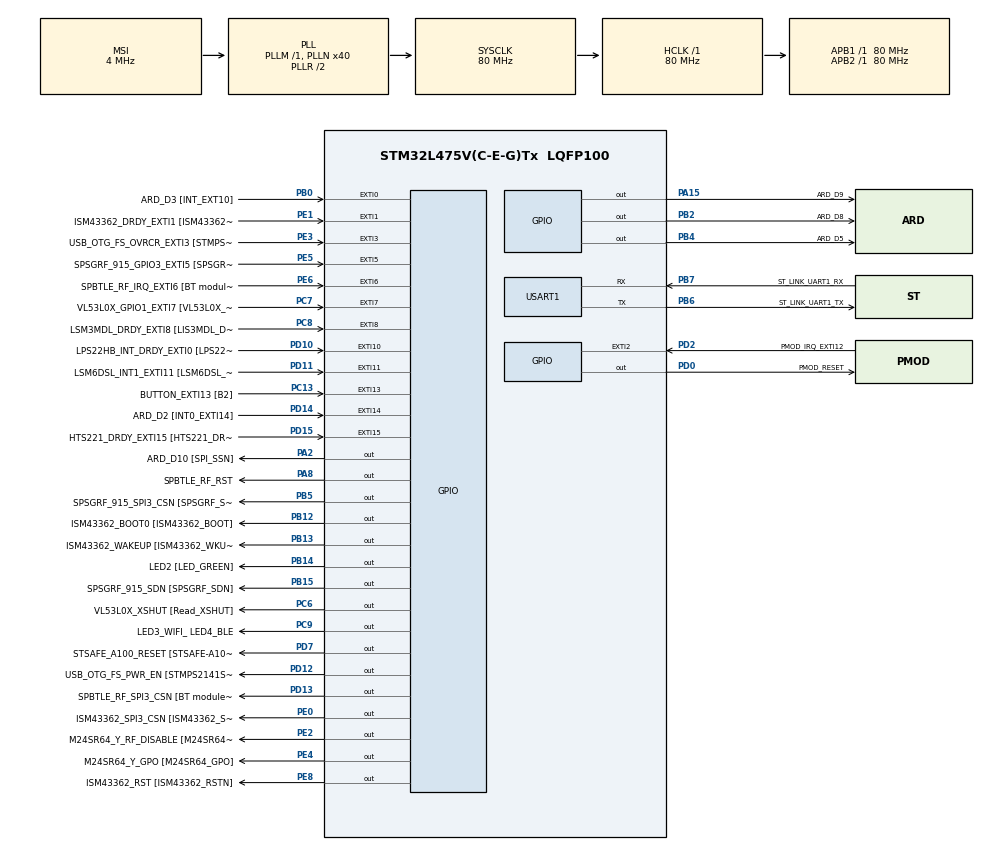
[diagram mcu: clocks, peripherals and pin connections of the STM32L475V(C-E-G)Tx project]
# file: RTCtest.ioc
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Mcu.Family=STM32L4
Mcu.Name=STM32L475V(C-E-G)Tx
Mcu.Package=LQFP100
NVIC.EXTI15_10_IRQn=true\:0\:0\:false\:false\:true\:true\:true
NVIC.EXTI9_5_IRQn=true\:0\:0\:false\:false\:true\:true\:true
NVIC.PriorityGroup=NVIC_PRIORITYGROUP_4
NVIC.RTC_WKUP_IRQn=true\:0\:0\:false\:false\:true\:true\:true
PA0.GPIO_Label=ARD_D1 [UART4_TX]
PA0.Signal=UART4_TX
PA1.GPIO_Label=ARD_D0 [UART4_RX]
PA1.Signal=UART4_RX
PA10.GPIO_Label=USB_OTG_FS_ID
PA10.Signal=USB_OTG_FS_ID
PA11.GPIO_Label=USB_OTG_FS_DM
PA11.Signal=USB_OTG_FS_DM
PA12.GPIO_Label=USB_OTG_FS_DP
PA12.Signal=USB_OTG_FS_DP
PA13\ (JTMS-SWDIO).GPIO_Label=SYS_JTMS_SWDIO
PA13\ (JTMS-SWDIO).Signal=SYS_JTMS-SWDIO
PA14\ (JTCK-SWCLK).GPIO_Label=SYS_JTCK_SWCLK
PA14\ (JTCK-SWCLK).Signal=SYS_JTCK-SWCLK
PA15\ (JTDI).GPIO_Label=ARD_D9
PA15\ (JTDI).Signal=GPIO_Output
PA2.GPIO_Label=ARD_D10 [SPI_SSN]
PA2.Signal=GPIO_Output
PA3.GPIO_Label=ARD_D4
PA3.Signal=S_TIM2_CH4
PA4.GPIO_Label=ARD_D7
PA4.Signal=ADCx_IN9
PA5.GPIO_Label=ARD_D13 [SPI1_SCK]
PA5.Signal=SPI1_SCK
PA6.GPIO_Label=ARD_D12 [SPI1_MISO]
PA6.Signal=SPI1_MISO
PA7.GPIO_Label=ARD_D11 [SPI1_MOSI]
PA7.Signal=SPI1_MOSI
PA8.GPIO_Label=SPBTLE_RF_RST
PA8.Signal=GPIO_Output
PA9.GPIO_Label=USB_OTG_FS_VBUS [STMPS2141STR_OUT]
PA9.Signal=USB_OTG_FS_VBUS
PB0.GPIO_Label=ARD_D3 [INT_EXT10]
PB0.Signal=GPXTI0
PB1.GPIO_Label=ARD_D6 [ADC1_IN6]
PB1.Signal=ADCx_IN16
PB10.GPIO_Label=INTERNAL_I2C2_SCL [VL53L0X_SCL]
PB10.Signal=I2C2_SCL
PB11.GPIO_Label=INTERNAL_I2C2_SDA [VL53L0X_SDA]
PB11.Signal=I2C2_SDA
PB12.GPIO_Label=ISM43362_BOOT0 [ISM43362_BOOT]
PB12.Signal=GPIO_Output
PB13.GPIO_Label=ISM43362_WAKEUP [ISM43362_WKUP]
PB13.Signal=GPIO_Output
PB14.GPIO_Label=LED2 [LED_GREEN]
PB14.Signal=GPIO_Output
PB15.GPIO_Label=SPSGRF_915_SDN [SPSGRF_SDN]
PB15.Signal=GPIO_Output
PB2.GPIO_Label=ARD_D8
PB2.Signal=GPIO_Output
PB3\ (JTDO-TRACESWO).GPIO_Label=SYS_JTD0_SWO
PB3\ (JTDO-TRACESWO).Signal=SYS_JTDO-SWO
PB4\ (NJTRST).GPIO_Label=ARD_D5
PB4\ (NJTRST).Signal=GPIO_Output
PB5.GPIO_Label=SPSGRF_915_SPI3_CSN [SPSGRF_SPI_CS]
PB5.PinState=GPIO_PIN_SET
PB5.Signal=GPIO_Output
PB6.GPIO_Label=ST_LINK_UART1_TX
PB6.Mode=Asynchronous
PB6.Signal=USART1_TX
PB7.GPIO_Label=ST_LINK_UART1_RX
PB7.Mode=Asynchronous
PB7.Signal=USART1_RX
PB8.GPIO_Label=ARD_D15 [I2C1_SCL]
PB8.Signal=I2C1_SCL
PB9.GPIO_Label=ARD_D14 [I2C1_SDA]
PB9.Signal=I2C1_SDA
PC0.GPIO_Label=ARD_A5 [ADC]
PC0.Signal=ADCx_IN1
PC1.GPIO_Label=ARD_A4 [ADC]
PC1.Signal=ADCx_IN2
PC10.GPIO_Label=INTERNAL_SPI3_SCK [BT module_SPI_SCLK] [ISM43362_SCK]
PC10.Signal=SPI3_SCK
PC11.GPIO_Label=INTERNAL_SPI3_MISO [BT module_SPI_MISO] [ISM43362_MISO]
PC11.Signal=SPI3_MISO
PC12.GPIO_Label=INTERNAL_SPI3_MOSI [BT module_SPI_MOSI] [ISM43362_MOSI]
PC12.Signal=SPI3_MOSI
PC13.GPIO_Label=BUTTON_EXTI13 [B2]
PC13.GPIO_ModeDefaultEXTI=GPIO_MODE_IT_FALLING
PC13.Signal=GPXTI13
PC14-OSC32_IN\ (PC14).Mode=LSE-External-Oscillator
PC14-OSC32_IN\ (PC14).Signal=RCC_OSC32_IN
PC15-OSC32_OUT\ (PC15).Mode=LSE-External-Oscillator
PC15-OSC32_OUT\ (PC15).Signal=RCC_OSC32_OUT
PC2.GPIO_Label=ARD_A3 [ADC]
PC2.Signal=ADCx_IN3
PC3.GPIO_Label=ARD_A2 [ADC]
PC3.Signal=ADCx_IN4
PC4.GPIO_Label=ARD_A1 [ADC]
PC4.Signal=ADCx_IN13
PC5.GPIO_Label=ARD_A0 [ADC]
PC5.Signal=ADCx_IN14
PC6.GPIO_Label=VL53L0X_XSHUT [Read_XSHUT]
PC6.Signal=GPIO_Output
PC7.GPIO_Label=VL53L0X_GPIO1_EXTI7 [VL53L0X_GPIO1]
PC7.Signal=GPXTI7
PC8.GPIO_Label=LSM3MDL_DRDY_EXTI8 [LIS3MDL_DRDY]
PC8.Signal=GPXTI8
PC9.GPIO_Label=LED3_WIFI_ LED4_BLE
PC9.Signal=GPIO_Output
PD0.GPIO_Label=PMOD_RESET
PD0.Signal=GPIO_Output
PD1.GPIO_Label=PMOD_SPI2_SCK
PD1.Signal=SPI2_SCK
PD10.GPIO_Label=LPS22HB_INT_DRDY_EXTI0 [LPS22HB_INT_DRDY] 
PD10.Signal=GPXTI10
PD11.GPIO_Label=LSM6DSL_INT1_EXTI11 [LSM6DSL_INT1]
PD11.Signal=GPXTI11
PD12.GPIO_Label=USB_OTG_FS_PWR_EN [STMPS2141STR_EN]
PD12.Signal=GPIO_Output
PD13.GPIO_Label=SPBTLE_RF_SPI3_CSN [BT module_SPI_CS]
PD13.PinState=GPIO_PIN_SET
PD13.Signal=GPIO_Output
PD14.GPIO_Label=ARD_D2 [INT0_EXTI14]
PD14.Signal=GPXTI14
PD15.GPIO_Label=HTS221_DRDY_EXTI15 [HTS221_DRDY]
PD15.Signal=GPXTI15
PD2.GPIO_Label=PMOD_IRQ_EXTI12
PD2.Signal=GPXTI2
PD3.GPIO_Label=PMOD_UART2_CTS
PD3.Signal=USART2_CTS
PD4.GPIO_Label=PMOD_UART2_RTS
PD4.Signal=USART2_RTS
PD5.GPIO_Label=PMOD_UART2_TX
PD5.Signal=USART2_TX
PD6.GPIO_Label=PMOD_UART2_RX
PD6.Signal=USART2_RX
PD7.GPIO_Label=STSAFE_A100_RESET [STSAFE-A100_RESET]
PD7.Signal=GPIO_Output
PD8.GPIO_Label=INTERNAL_UART3_TX [ISM43362_RX]
PD8.Signal=USART3_TX
PD9.GPIO_Label=INTERNAL_UART3_RX [ISM43362_TX]
PD9.Signal=USART3_RX
PE0.GPIO_Label=ISM43362_SPI3_CSN [ISM43362_SSN]
PE0.PinState=GPIO_PIN_SET
PE0.Signal=GPIO_Output
PE1.GPIO_Label=ISM43362_DRDY_EXTI1 [ISM43362_DATARDY]
PE1.Signal=GPXTI1
PE10.GPIO_Label=QUADSPI_CLK [MX25R6435F_SCLK]
PE10.Signal=QUADSPI_CLK
PE11.GPIO_Label=QUADSPI_NCS [MX25R6435F_SCLK]
PE11.Signal=QUADSPI_NCS
PE12.GPIO_Label=OQUADSPI_BK1_IO0 [MX25R6435F_IO0]
PE12.Signal=QUADSPI_BK1_IO0
PE13.GPIO_Label=QUADSPI_BK1_IO1 [MX25R6435F_IO1]
PE13.Signal=QUADSPI_BK1_IO1
PE14.GPIO_Label=QUAD_SPI_BK1_IO2 [MX25R6435F_IO2]
PE14.Signal=QUADSPI_BK1_IO2
PE15.GPIO_Label=QUAD_SPI_BK1_IO3 [MX25R6435F_IO3]
PE15.Signal=QUADSPI_BK1_IO3
PE2.GPIO_Label=M24SR64_Y_RF_DISABLE [M24SR64_RFDIS]
PE2.Signal=GPIO_Output
PE3.GPIO_Label=USB_OTG_FS_OVRCR_EXTI3 [STMPS2141STR_FAULT]
PE3.Signal=GPXTI3
PE4.GPIO_Label=M24SR64_Y_GPO [M24SR64_GPO]
PE4.Signal=GPIO_Output
PE5.GPIO_Label=SPSGRF_915_GPIO3_EXTI5 [SPSGRF_GPIO_3]
PE5.Signal=GPXTI5
PE6.GPIO_Label=SPBTLE_RF_IRQ_EXTI6 [BT module_SPI_IRQ]
PE6.Signal=GPXTI6
PE7.GPIO_Label=DFSDM1_DATIN2 [MP34DT01_DOUT]
PE7.Signal=S_DATAIN2DFSDM1
PE8.GPIO_Label=ISM43362_RST [ISM43362_RSTN]
PE8.Signal=GPIO_Output
PE9.GPIO_Label=DFSDM1_CKOUT [MP34DT01_CLK]
PE9.Signal=S_CKOUTDFSDM1
ProjectManager.HeapSize=0x200
ProjectManager.StackSize=0x400
ProjectManager.TargetToolchain=STM32CubeIDE
RCC.ADCFreq_Value=48000000
RCC.AHBFreq_Value=80000000
RCC.APB1Freq_Value=80000000
RCC.APB1TimFreq_Value=80000000
RCC.APB2Freq_Value=80000000
RCC.APB2TimFreq_Value=80000000
RCC.CortexFreq_Value=80000000
RCC.HCLKFreq_Value=80000000
RCC.HSE_VALUE=8000000
RCC.HSI_VALUE=16000000
RCC.MSI_VALUE=4000000
RCC.PLLN=40
RCC.PLLSAI1N=24
RCC.RTCClockSelection=RCC_RTCCLKSOURCE_LSE
RCC.SYSCLKFreq_VALUE=80000000
RCC.SYSCLKSource=RCC_SYSCLKSOURCE_PLLCLK
RCC.USBFreq_Value=48000000
RCC.VCOOutputFreq_Value=160000000
RTC.WakeUpClock-WakeUp=RTC_WAKEUPCLOCK_CK_SPRE_16BITS
SH.ADCx_IN1.0=ADC1_IN1
SH.ADCx_IN13.0=ADC1_IN13
SH.ADCx_IN14.0=ADC1_IN14
SH.ADCx_IN16.0=ADC1_IN16
SH.ADCx_IN2.0=ADC1_IN2
SH.ADCx_IN3.0=ADC1_IN3
SH.ADCx_IN4.0=ADC1_IN4
SH.ADCx_IN9.0=ADC1_IN9
SH.S_CKOUTDFSDM1.0=DFSDM1_CKOUT
SH.S_DATAIN2DFSDM1.0=DFSDM1_DATIN2
SH.S_TIM2_CH4.0=TIM2_CH4
USART1.VirtualMode-Asynchronous=VM_ASYNC
VP_RTC_VS_RTC_Activate.Mode=RTC_Enabled
VP_RTC_VS_RTC_WakeUp_intern.Mode=WakeUp
board=B-L475E-IOT01A1

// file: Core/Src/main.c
/* USER CODE BEGIN Header */
/**
  ******************************************************************************
  * @file           : main.c
  * @brief          : Main program body
  ******************************************************************************
  * @attention
  *
  * <h2><center>&copy; Copyright (c) 2021 STMicroelectronics.
  * All rights reserved.</center></h2>
  *
  * This software component is licensed by ST under BSD 3-Clause license,
  * the "License"; You may not use this file except in compliance with the
  * License. You may obtain a copy of the License at:
  *                        opensource.org/licenses/BSD-3-Clause
  *
  ******************************************************************************
  */
/* USER CODE END Header */
#include "main.h"

RTC_HandleTypeDef hrtc;

UART_HandleTypeDef huart1;

void SystemClock_Config(void);
static void MX_GPIO_Init(void);
static void MX_RTC_Init(void);
static void MX_USART1_UART_Init(void);
/* USER CODE BEGIN PFP */
void HAL_RTC_AlarmAEventCallback(RTC_HandleTypeDef *hrtc);
void HAL_RTCEx_AlarmBEventCallback(RTC_HandleTypeDef *hrtc);
void HAL_RTCEx_WakeUpTimerEventCallback(RTC_HandleTypeDef *hrtc);
void _write(int file, char *ptr, int len)
{
	HAL_UART_Transmit(&huart1, ptr, len, 500);
}

/* USER CODE END PFP */

int main(void)
{

  /* MCU Configuration--------------------------------------------------------*/

  /* Reset of all peripherals, Initializes the Flash interface and the Systick. */
  HAL_Init();

  /* Configure the system clock */
  SystemClock_Config();

  /* Initialize all configured peripherals */
  MX_GPIO_Init();
  MX_RTC_Init();
  MX_USART1_UART_Init();
  /* USER CODE BEGIN 2 */
  for(uint8_t i = 0; i<10; i++){
	  HAL_GPIO_TogglePin(GPIOB, GPIO_PIN_14);
	  HAL_Delay(500);
  }

  printf("while start\n");
  /* USER CODE END 2 */

  /* Infinite loop */
  while (1)
  {

    /* USER CODE BEGIN 3 */
	  for(uint8_t i = 0; i<50; i++){
		  HAL_GPIO_TogglePin(GPIOB, GPIO_PIN_14);
		  HAL_Delay(100);
	  }

	  printf("enter stop\n");
	  __HAL_RCC_PWR_CLK_ENABLE();
	  HAL_RTCEx_SetWakeUpTimer_IT(&hrtc, 20000, RTC_WAKEUPCLOCK_RTCCLK_DIV16);
	  HAL_SuspendTick();
	  //HAL_PWR_EnterSTOPMode(0, PWR_SLEEPENTRY_WFI);
	  HAL_PWR_EnterSTANDBYMode();

  }
  /* USER CODE END 3 */
}

void SystemClock_Config(void)
{
  RCC_OscInitTypeDef RCC_OscInitStruct = {0};
  RCC_ClkInitTypeDef RCC_ClkInitStruct = {0};

  /** Configure the main internal regulator output voltage
  */
  if (HAL_PWREx_ControlVoltageScaling(PWR_REGULATOR_VOLTAGE_SCALE1) != HAL_OK)
  {
    Error_Handler();
  }
  /** Configure LSE Drive Capability
  */
  HAL_PWR_EnableBkUpAccess();
  __HAL_RCC_LSEDRIVE_CONFIG(RCC_LSEDRIVE_LOW);
  /** Initializes the RCC Oscillators according to the specified parameters
  * in the RCC_OscInitTypeDef structure.
  */
  RCC_OscInitStruct.OscillatorType = RCC_OSCILLATORTYPE_LSE|RCC_OSCILLATORTYPE_MSI;
  RCC_OscInitStruct.LSEState = RCC_LSE_ON;
  RCC_OscInitStruct.MSIState = RCC_MSI_ON;
  RCC_OscInitStruct.MSICalibrationValue = 0;
  RCC_OscInitStruct.MSIClockRange = RCC_MSIRANGE_6;
  RCC_OscInitStruct.PLL.PLLState = RCC_PLL_ON;
  RCC_OscInitStruct.PLL.PLLSource = RCC_PLLSOURCE_MSI;
  RCC_OscInitStruct.PLL.PLLM = 1;
  RCC_OscInitStruct.PLL.PLLN = 40;
  RCC_OscInitStruct.PLL.PLLP = RCC_PLLP_DIV7;
  RCC_OscInitStruct.PLL.PLLQ = RCC_PLLQ_DIV2;
  RCC_OscInitStruct.PLL.PLLR = RCC_PLLR_DIV2;
  if (HAL_RCC_OscConfig(&RCC_OscInitStruct) != HAL_OK)
  {
    Error_Handler();
  }
  /** Initializes the CPU, AHB and APB buses clocks
  */
  RCC_ClkInitStruct.ClockType = RCC_CLOCKTYPE_HCLK|RCC_CLOCKTYPE_SYSCLK
                              |RCC_CLOCKTYPE_PCLK1|RCC_CLOCKTYPE_PCLK2;
  RCC_ClkInitStruct.SYSCLKSource = RCC_SYSCLKSOURCE_PLLCLK;
  RCC_ClkInitStruct.AHBCLKDivider = RCC_SYSCLK_DIV1;
  RCC_ClkInitStruct.APB1CLKDivider = RCC_HCLK_DIV1;
  RCC_ClkInitStruct.APB2CLKDivider = RCC_HCLK_DIV1;

  if (HAL_RCC_ClockConfig(&RCC_ClkInitStruct, FLASH_LATENCY_4) != HAL_OK)
  {
    Error_Handler();
  }
  /** Enable MSI Auto calibration
  */
  HAL_RCCEx_EnableMSIPLLMode();
}

static void MX_RTC_Init(void)
{

  /** Initialize RTC Only
  */
  hrtc.Instance = RTC;
  hrtc.Init.HourFormat = RTC_HOURFORMAT_24;
  hrtc.Init.AsynchPrediv = 127;
  hrtc.Init.SynchPrediv = 255;
  hrtc.Init.OutPut = RTC_OUTPUT_DISABLE;
  hrtc.Init.OutPutRemap = RTC_OUTPUT_REMAP_NONE;
  hrtc.Init.OutPutPolarity = RTC_OUTPUT_POLARITY_HIGH;
  hrtc.Init.OutPutType = RTC_OUTPUT_TYPE_OPENDRAIN;
  if (HAL_RTC_Init(&hrtc) != HAL_OK)
  {
    Error_Handler();
  }

}

static void MX_USART1_UART_Init(void)
{

  huart1.Instance = USART1;
  huart1.Init.BaudRate = 115200;
  huart1.Init.WordLength = UART_WORDLENGTH_8B;
  huart1.Init.StopBits = UART_STOPBITS_1;
  huart1.Init.Parity = UART_PARITY_NONE;
  huart1.Init.Mode = UART_MODE_TX_RX;
  huart1.Init.HwFlowCtl = UART_HWCONTROL_NONE;
  huart1.Init.OverSampling = UART_OVERSAMPLING_16;
  huart1.Init.OneBitSampling = UART_ONE_BIT_SAMPLE_DISABLE;
  huart1.AdvancedInit.AdvFeatureInit = UART_ADVFEATURE_NO_INIT;
  if (HAL_UART_Init(&huart1) != HAL_OK)
  {
    Error_Handler();
  }

}

static void MX_GPIO_Init(void)
{
  GPIO_InitTypeDef GPIO_InitStruct = {0};

  /* GPIO Ports Clock Enable */
  __HAL_RCC_GPIOE_CLK_ENABLE();
  __HAL_RCC_GPIOC_CLK_ENABLE();
  __HAL_RCC_GPIOA_CLK_ENABLE();
  __HAL_RCC_GPIOB_CLK_ENABLE();
  __HAL_RCC_GPIOD_CLK_ENABLE();

  /*Configure GPIO pin Output Level */
  HAL_GPIO_WritePin(GPIOE, M24SR64_Y_RF_DISABLE_Pin|M24SR64_Y_GPO_Pin|ISM43362_RST_Pin, GPIO_PIN_RESET);

  /*Configure GPIO pin Output Level */
  HAL_GPIO_WritePin(GPIOA, ARD_D10_Pin|SPBTLE_RF_RST_Pin|ARD_D9_Pin, GPIO_PIN_RESET);

  /*Configure GPIO pin Output Level */
  HAL_GPIO_WritePin(GPIOB, ARD_D8_Pin|ISM43362_BOOT0_Pin|ISM43362_WAKEUP_Pin|LED2_Pin
                          |SPSGRF_915_SDN_Pin|ARD_D5_Pin, GPIO_PIN_RESET);

  /*Configure GPIO pin Output Level */
  HAL_GPIO_WritePin(GPIOD, USB_OTG_FS_PWR_EN_Pin|PMOD_RESET_Pin|STSAFE_A100_RESET_Pin, GPIO_PIN_RESET);

  /*Configure GPIO pin Output Level */
  HAL_GPIO_WritePin(SPBTLE_RF_SPI3_CSN_GPIO_Port, SPBTLE_RF_SPI3_CSN_Pin, GPIO_PIN_SET);

  /*Configure GPIO pin Output Level */
  HAL_GPIO_WritePin(GPIOC, VL53L0X_XSHUT_Pin|LED3_WIFI__LED4_BLE_Pin, GPIO_PIN_RESET);

  /*Configure GPIO pin Output Level */
  HAL_GPIO_WritePin(SPSGRF_915_SPI3_CSN_GPIO_Port, SPSGRF_915_SPI3_CSN_Pin, GPIO_PIN_SET);

  /*Configure GPIO pin Output Level */
  HAL_GPIO_WritePin(ISM43362_SPI3_CSN_GPIO_Port, ISM43362_SPI3_CSN_Pin, GPIO_PIN_SET);

  /*Configure GPIO pins : M24SR64_Y_RF_DISABLE_Pin M24SR64_Y_GPO_Pin ISM43362_RST_Pin ISM43362_SPI3_CSN_Pin */
  GPIO_InitStruct.Pin = M24SR64_Y_RF_DISABLE_Pin|M24SR64_Y_GPO_Pin|ISM43362_RST_Pin|ISM43362_SPI3_CSN_Pin;
  GPIO_InitStruct.Mode = GPIO_MODE_OUTPUT_PP;
  GPIO_InitStruct.Pull = GPIO_NOPULL;
  GPIO_InitStruct.Speed = GPIO_SPEED_FREQ_LOW;
  HAL_GPIO_Init(GPIOE, &GPIO_InitStruct);

  /*Configure GPIO pins : USB_OTG_FS_OVRCR_EXTI3_Pin SPSGRF_915_GPIO3_EXTI5_Pin SPBTLE_RF_IRQ_EXTI6_Pin ISM43362_DRDY_EXTI1_Pin */
  GPIO_InitStruct.Pin = USB_OTG_FS_OVRCR_EXTI3_Pin|SPSGRF_915_GPIO3_EXTI5_Pin|SPBTLE_RF_IRQ_EXTI6_Pin|ISM43362_DRDY_EXTI1_Pin;
  GPIO_InitStruct.Mode = GPIO_MODE_IT_RISING;
  GPIO_InitStruct.Pull = GPIO_NOPULL;
  HAL_GPIO_Init(GPIOE, &GPIO_InitStruct);

  /*Configure GPIO pin : BUTTON_EXTI13_Pin */
  GPIO_InitStruct.Pin = BUTTON_EXTI13_Pin;
  GPIO_InitStruct.Mode = GPIO_MODE_IT_FALLING;
  GPIO_InitStruct.Pull = GPIO_NOPULL;
  HAL_GPIO_Init(BUTTON_EXTI13_GPIO_Port, &GPIO_InitStruct);

  /*Configure GPIO pins : ARD_A5_Pin ARD_A4_Pin ARD_A3_Pin ARD_A2_Pin
                           ARD_A1_Pin ARD_A0_Pin */
  GPIO_InitStruct.Pin = ARD_A5_Pin|ARD_A4_Pin|ARD_A3_Pin|ARD_A2_Pin
                          |ARD_A1_Pin|ARD_A0_Pin;
  GPIO_InitStruct.Mode = GPIO_MODE_ANALOG_ADC_CONTROL;
  GPIO_InitStruct.Pull = GPIO_NOPULL;
  HAL_GPIO_Init(GPIOC, &GPIO_InitStruct);

  /*Configure GPIO pins : ARD_D1_Pin ARD_D0_Pin */
  GPIO_InitStruct.Pin = ARD_D1_Pin|ARD_D0_Pin;
  GPIO_InitStruct.Mode = GPIO_MODE_AF_PP;
  GPIO_InitStruct.Pull = GPIO_NOPULL;
  GPIO_InitStruct.Speed = GPIO_SPEED_FREQ_VERY_HIGH;
  GPIO_InitStruct.Alternate = GPIO_AF8_UART4;
  HAL_GPIO_Init(GPIOA, &GPIO_InitStruct);

  /*Configure GPIO pins : ARD_D10_Pin SPBTLE_RF_RST_Pin ARD_D9_Pin */
  GPIO_InitStruct.Pin = ARD_D10_Pin|SPBTLE_RF_RST_Pin|ARD_D9_Pin;
  GPIO_InitStruct.Mode = GPIO_MODE_OUTPUT_PP;
  GPIO_InitStruct.Pull = GPIO_NOPULL;
  GPIO_InitStruct.Speed = GPIO_SPEED_FREQ_LOW;
  HAL_GPIO_Init(GPIOA, &GPIO_InitStruct);

  /*Configure GPIO pin : ARD_D4_Pin */
  GPIO_InitStruct.Pin = ARD_D4_Pin;
  GPIO_InitStruct.Mode = GPIO_MODE_AF_PP;
  GPIO_InitStruct.Pull = GPIO_NOPULL;
  GPIO_InitStruct.Speed = GPIO_SPEED_FREQ_LOW;
  GPIO_InitStruct.Alternate = GPIO_AF1_TIM2;
  HAL_GPIO_Init(ARD_D4_GPIO_Port, &GPIO_InitStruct);

  /*Configure GPIO pin : ARD_D7_Pin */
  GPIO_InitStruct.Pin = ARD_D7_Pin;
  GPIO_InitStruct.Mode = GPIO_MODE_ANALOG_ADC_CONTROL;
  GPIO_InitStruct.Pull = GPIO_NOPULL;
  HAL_GPIO_Init(ARD_D7_GPIO_Port, &GPIO_InitStruct);

  /*Configure GPIO pins : ARD_D13_Pin ARD_D12_Pin ARD_D11_Pin */
  GPIO_InitStruct.Pin = ARD_D13_Pin|ARD_D12_Pin|ARD_D11_Pin;
  GPIO_InitStruct.Mode = GPIO_MODE_AF_PP;
  GPIO_InitStruct.Pull = GPIO_NOPULL;
  GPIO_InitStruct.Speed = GPIO_SPEED_FREQ_VERY_HIGH;
  GPIO_InitStruct.Alternate = GPIO_AF5_SPI1;
  HAL_GPIO_Init(GPIOA, &GPIO_InitStruct);

  /*Configure GPIO pin : ARD_D3_Pin */
  GPIO_InitStruct.Pin = ARD_D3_Pin;
  GPIO_InitStruct.Mode = GPIO_MODE_IT_RISING;
  GPIO_InitStruct.Pull = GPIO_NOPULL;
  HAL_GPIO_Init(ARD_D3_GPIO_Port, &GPIO_InitStruct);

  /*Configure GPIO pin : ARD_D6_Pin */
  GPIO_InitStruct.Pin = ARD_D6_Pin;
  GPIO_InitStruct.Mode = GPIO_MODE_ANALOG_ADC_CONTROL;
  GPIO_InitStruct.Pull = GPIO_NOPULL;
  HAL_GPIO_Init(ARD_D6_GPIO_Port, &GPIO_InitStruct);

  /*Configure GPIO pins : ARD_D8_Pin ISM43362_BOOT0_Pin ISM43362_WAKEUP_Pin LED2_Pin
                           SPSGRF_915_SDN_Pin ARD_D5_Pin SPSGRF_915_SPI3_CSN_Pin */
  GPIO_InitStruct.Pin = ARD_D8_Pin|ISM43362_BOOT0_Pin|ISM43362_WAKEUP_Pin|LED2_Pin
                          |SPSGRF_915_SDN_Pin|ARD_D5_Pin|SPSGRF_915_SPI3_CSN_Pin;
  GPIO_InitStruct.Mode = GPIO_MODE_OUTPUT_PP;
  GPIO_InitStruct.Pull = GPIO_NOPULL;
  GPIO_InitStruct.Speed = GPIO_SPEED_FREQ_LOW;
  HAL_GPIO_Init(GPIOB, &GPIO_InitStruct);

  /*Configure GPIO pins : DFSDM1_DATIN2_Pin DFSDM1_CKOUT_Pin */
  GPIO_InitStruct.Pin = DFSDM1_DATIN2_Pin|DFSDM1_CKOUT_Pin;
  GPIO_InitStruct.Mode = GPIO_MODE_AF_PP;
  GPIO_InitStruct.Pull = GPIO_NOPULL;
  GPIO_InitStruct.Speed = GPIO_SPEED_FREQ_LOW;
  GPIO_InitStruct.Alternate = GPIO_AF6_DFSDM1;
  HAL_GPIO_Init(GPIOE, &GPIO_InitStruct);

  /*Configure GPIO pins : QUADSPI_CLK_Pin QUADSPI_NCS_Pin OQUADSPI_BK1_IO0_Pin QUADSPI_BK1_IO1_Pin
                           QUAD_SPI_BK1_IO2_Pin QUAD_SPI_BK1_IO3_Pin */
  GPIO_InitStruct.Pin = QUADSPI_CLK_Pin|QUADSPI_NCS_Pin|OQUADSPI_BK1_IO0_Pin|QUADSPI_BK1_IO1_Pin
                          |QUAD_SPI_BK1_IO2_Pin|QUAD_SPI_BK1_IO3_Pin;
  GPIO_InitStruct.Mode = GPIO_MODE_AF_PP;
  GPIO_InitStruct.Pull = GPIO_NOPULL;
  GPIO_InitStruct.Speed = GPIO_SPEED_FREQ_VERY_HIGH;
  GPIO_InitStruct.Alternate = GPIO_AF10_QUADSPI;
  HAL_GPIO_Init(GPIOE, &GPIO_InitStruct);

  /*Configure GPIO pins : INTERNAL_I2C2_SCL_Pin INTERNAL_I2C2_SDA_Pin */
  GPIO_InitStruct.Pin = INTERNAL_I2C2_SCL_Pin|INTERNAL_I2C2_SDA_Pin;
  GPIO_InitStruct.Mode = GPIO_MODE_AF_OD;
  GPIO_InitStruct.Pull = GPIO_NOPULL;
  GPIO_InitStruct.Speed = GPIO_SPEED_FREQ_VERY_HIGH;
  GPIO_InitStruct.Alternate = GPIO_AF4_I2C2;
  HAL_GPIO_Init(GPIOB, &GPIO_InitStruct);

  /*Configure GPIO pins : INTERNAL_UART3_TX_Pin INTERNAL_UART3_RX_Pin */
  GPIO_InitStruct.Pin = INTERNAL_UART3_TX_Pin|INTERNAL_UART3_RX_Pin;
  GPIO_InitStruct.Mode = GPIO_MODE_AF_PP;
  GPIO_InitStruct.Pull = GPIO_NOPULL;
  GPIO_InitStruct.Speed = GPIO_SPEED_FREQ_VERY_HIGH;
  GPIO_InitStruct.Alternate = GPIO_AF7_USART3;
  HAL_GPIO_Init(GPIOD, &GPIO_InitStruct);

  /*Configure GPIO pins : LPS22HB_INT_DRDY_EXTI0_Pin LSM6DSL_INT1_EXTI11_Pin ARD_D2_Pin HTS221_DRDY_EXTI15_Pin
                           PMOD_IRQ_EXTI12_Pin */
  GPIO_InitStruct.Pin = LPS22HB_INT_DRDY_EXTI0_Pin|LSM6DSL_INT1_EXTI11_Pin|ARD_D2_Pin|HTS221_DRDY_EXTI15_Pin
                          |PMOD_IRQ_EXTI12_Pin;
  GPIO_InitStruct.Mode = GPIO_MODE_IT_RISING;
  GPIO_InitStruct.Pull = GPIO_NOPULL;
  HAL_GPIO_Init(GPIOD, &GPIO_InitStruct);

  /*Configure GPIO pins : USB_OTG_FS_PWR_EN_Pin SPBTLE_RF_SPI3_CSN_Pin PMOD_RESET_Pin STSAFE_A100_RESET_Pin */
  GPIO_InitStruct.Pin = USB_OTG_FS_PWR_EN_Pin|SPBTLE_RF_SPI3_CSN_Pin|PMOD_RESET_Pin|STSAFE_A100_RESET_Pin;
  GPIO_InitStruct.Mode = GPIO_MODE_OUTPUT_PP;
  GPIO_InitStruct.Pull = GPIO_NOPULL;
  GPIO_InitStruct.Speed = GPIO_SPEED_FREQ_LOW;
  HAL_GPIO_Init(GPIOD, &GPIO_InitStruct);

  /*Configure GPIO pins : VL53L0X_XSHUT_Pin LED3_WIFI__LED4_BLE_Pin */
  GPIO_InitStruct.Pin = VL53L0X_XSHUT_Pin|LED3_WIFI__LED4_BLE_Pin;
  GPIO_InitStruct.Mode = GPIO_MODE_OUTPUT_PP;
  GPIO_InitStruct.Pull = GPIO_NOPULL;
  GPIO_InitStruct.Speed = GPIO_SPEED_FREQ_LOW;
  HAL_GPIO_Init(GPIOC, &GPIO_InitStruct);

  /*Configure GPIO pins : VL53L0X_GPIO1_EXTI7_Pin LSM3MDL_DRDY_EXTI8_Pin */
  GPIO_InitStruct.Pin = VL53L0X_GPIO1_EXTI7_Pin|LSM3MDL_DRDY_EXTI8_Pin;
  GPIO_InitStruct.Mode = GPIO_MODE_IT_RISING;
  GPIO_InitStruct.Pull = GPIO_NOPULL;
  HAL_GPIO_Init(GPIOC, &GPIO_InitStruct);

  /*Configure GPIO pin : USB_OTG_FS_VBUS_Pin */
  GPIO_InitStruct.Pin = USB_OTG_FS_VBUS_Pin;
  GPIO_InitStruct.Mode = GPIO_MODE_INPUT;
  GPIO_InitStruct.Pull = GPIO_NOPULL;
  HAL_GPIO_Init(USB_OTG_FS_VBUS_GPIO_Port, &GPIO_InitStruct);

  /*Configure GPIO pins : USB_OTG_FS_ID_Pin USB_OTG_FS_DM_Pin USB_OTG_FS_DP_Pin */
  GPIO_InitStruct.Pin = USB_OTG_FS_ID_Pin|USB_OTG_FS_DM_Pin|USB_OTG_FS_DP_Pin;
  GPIO_InitStruct.Mode = GPIO_MODE_AF_PP;
  GPIO_InitStruct.Pull = GPIO_NOPULL;
  GPIO_InitStruct.Speed = GPIO_SPEED_FREQ_VERY_HIGH;
  GPIO_InitStruct.Alternate = GPIO_AF10_OTG_FS;
  HAL_GPIO_Init(GPIOA, &GPIO_InitStruct);

  /*Configure GPIO pins : INTERNAL_SPI3_SCK_Pin INTERNAL_SPI3_MISO_Pin INTERNAL_SPI3_MOSI_Pin */
  GPIO_InitStruct.Pin = INTERNAL_SPI3_SCK_Pin|INTERNAL_SPI3_MISO_Pin|INTERNAL_SPI3_MOSI_Pin;
  GPIO_InitStruct.Mode = GPIO_MODE_AF_PP;
  GPIO_InitStruct.Pull = GPIO_NOPULL;
  GPIO_InitStruct.Speed = GPIO_SPEED_FREQ_VERY_HIGH;
  GPIO_InitStruct.Alternate = GPIO_AF6_SPI3;
  HAL_GPIO_Init(GPIOC, &GPIO_InitStruct);

  /*Configure GPIO pin : PMOD_SPI2_SCK_Pin */
  GPIO_InitStruct.Pin = PMOD_SPI2_SCK_Pin;
  GPIO_InitStruct.Mode = GPIO_MODE_AF_PP;
  GPIO_InitStruct.Pull = GPIO_NOPULL;
  GPIO_InitStruct.Speed = GPIO_SPEED_FREQ_VERY_HIGH;
  GPIO_InitStruct.Alternate = GPIO_AF5_SPI2;
  HAL_GPIO_Init(PMOD_SPI2_SCK_GPIO_Port, &GPIO_InitStruct);

  /*Configure GPIO pins : PMOD_UART2_CTS_Pin PMOD_UART2_RTS_Pin PMOD_UART2_TX_Pin PMOD_UART2_RX_Pin */
  GPIO_InitStruct.Pin = PMOD_UART2_CTS_Pin|PMOD_UART2_RTS_Pin|PMOD_UART2_TX_Pin|PMOD_UART2_RX_Pin;
  GPIO_InitStruct.Mode = GPIO_MODE_AF_PP;
  GPIO_InitStruct.Pull = GPIO_NOPULL;
  GPIO_InitStruct.Speed = GPIO_SPEED_FREQ_VERY_HIGH;
  GPIO_InitStruct.Alternate = GPIO_AF7_USART2;
  HAL_GPIO_Init(GPIOD, &GPIO_InitStruct);

  /*Configure GPIO pins : ARD_D15_Pin ARD_D14_Pin */
  GPIO_InitStruct.Pin = ARD_D15_Pin|ARD_D14_Pin;
  GPIO_InitStruct.Mode = GPIO_MODE_AF_OD;
  GPIO_InitStruct.Pull = GPIO_NOPULL;
  GPIO_InitStruct.Speed = GPIO_SPEED_FREQ_VERY_HIGH;
  GPIO_InitStruct.Alternate = GPIO_AF4_I2C1;
  HAL_GPIO_Init(GPIOB, &GPIO_InitStruct);

  /* EXTI interrupt init*/
  HAL_NVIC_SetPriority(EXTI9_5_IRQn, 0, 0);
  HAL_NVIC_EnableIRQ(EXTI9_5_IRQn);

  HAL_NVIC_SetPriority(EXTI15_10_IRQn, 0, 0);
  HAL_NVIC_EnableIRQ(EXTI15_10_IRQn);

}

/* USER CODE BEGIN 4 */

void HAL_RTC_AlarmAEventCallback(RTC_HandleTypeDef *hrtc){
	//printf("A alarmed\n");
}
void HAL_RTCEx_AlarmBEventCallback(RTC_HandleTypeDef *hrtc){
	//printf("B alarmed\n");
}
void HAL_RTCEx_WakeUpTimerEventCallback(RTC_HandleTypeDef *hrtc){

	/*SystemClock_Config();
	//__HAL_RCC_PWR_CLK_ENABLE();
	HAL_ResumeTick();
	HAL_RTCEx_DeactivateWakeUpTimer(hrtc);
	printf("exit stop\n");*/

}

/* USER CODE END 4 */

void Error_Handler(void)
{
  __disable_irq();
  while (1)
  {
  }
}

/************************ (C) COPYRIGHT STMicroelectronics *****END OF FILE****/
